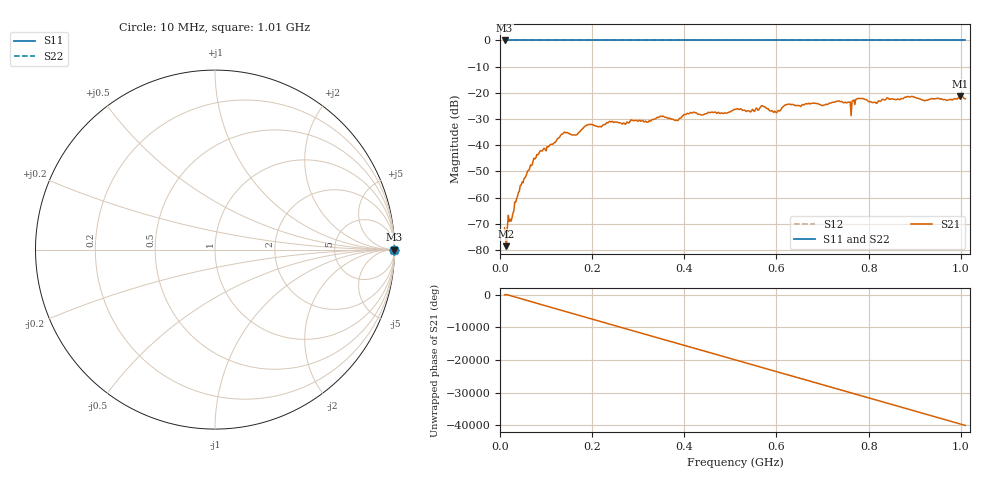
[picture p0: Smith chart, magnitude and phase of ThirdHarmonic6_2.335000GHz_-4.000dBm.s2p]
! 8/17/2025 3:24:28 AM
! C:\ANRITSUVNA\TEMP\TEMP.S2P
! CHANNEL.1
! TR.MEASUREMENT
! RAW.DATA
! RF.CORRECTION.OFF
! AVERAGING.OFF
! IF.BANDWIDTH: 5KHZ
! SWEEPTYPE:  FREQ.SWEEP(Linear)
! Reference Plane Port Info
! PORT:  PORT1  PORT2
! DISTANCE:  0  m  0  m
! TIME:  0  s  0  s
! PHASE.OFFSET:  0  deg.  0  deg.
! LOSS:  0  dB  0  dB
! REF.LOSS:  0  dB  0  dB
! REF.FREQ:  0  Hz  0  Hz
! Power Info
! POWER:  -20  dBm  -20  dBm
! EFF.POWER:  -20  dBm  -20  dBm
! SOURCE.ATTEN:  0  dB  0  dB
! TEST.ATTEN:  0  dB  0  dB
# GHZ S RI R 50.0
! FREQ.GHZ  S11RE  S11IM  S21RE  S21IM  S12RE  S12IM  S22RE  S22IM
!; PortSelection: Port_12
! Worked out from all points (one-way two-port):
!   501 points, 10 MHz to 1.01 GHz, reference 50 ohm
!   highest |S21| = -21.32 dB at 998 MHz (marker M1); lowest = -78.5 dB at 14 MHz (marker M2)
!   lowest |S11| = 0.0 dB at 10 MHz (marker M3)
!   |S11| at or under -10 dB: nowhere
!   |S22| runs from 0.0 to 0.0 dB; largest |S21 - S12| = 1.1
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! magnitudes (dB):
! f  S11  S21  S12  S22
! 10 MHz  0.0  -71.6  0.0  0.0
! 14 MHz  0.0  -78.5  0.0  0.0
! 44 MHz  0.0  -55.3  0.0  0.0
! 76 MHz  0.0  -45.2  0.0  0.0
! 136 MHz  0.0  -35.7  0.0  0.0
! 164 MHz  0.0  -36.1  0.0  0.0
! 178 MHz  0.0  -33.9  0.0  0.0
! 192 MHz  0.0  -32.0  0.0  0.0
! 344 MHz  0.0  -29.4  0.0  0.0
! 382 MHz  0.0  -30.4  0.0  0.0
! 416 MHz  0.0  -27.7  0.0  0.0
! 510 MHz  0.0  -26.3  0.0  0.0
! 570 MHz  0.0  -25.0  0.0  0.0
! 598 MHz  0.0  -27.3  0.0  0.0
! 624 MHz  0.0  -24.3  0.0  0.0
! 678 MHz  0.0  -23.9  0.0  0.0
! 758 MHz  0.0  -23.6  0.0  0.0
! 778 MHz  0.0  -22.1  0.0  0.0
! 814 MHz  0.0  -23.6  0.0  0.0
! 844 MHz  0.0  -22.3  0.0  0.0
! 998 MHz  0.0  -21.3  0.0  0.0
! 1.01 GHz  0.0  -22.2  0.0  0.0
